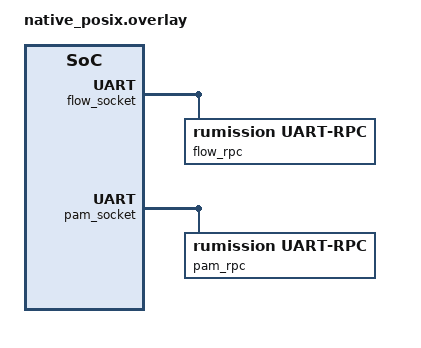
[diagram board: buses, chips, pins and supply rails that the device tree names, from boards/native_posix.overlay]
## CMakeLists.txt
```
cmake_minimum_required(VERSION 3.20.0)

# add_definitions(-DPOSIX_ARCH_DEBUG_PRINTS)

find_package(Zephyr REQUIRED HINTS $ENV{ZEPHYR_BASE})
project(nanopb_socket_tests)

target_include_directories(app PUBLIC ${CMAKE_CURRENT_BINARY_DIR}/modules/application)

target_sources(app PRIVATE src/main.c)

add_dependencies(app rumission_protos)
```

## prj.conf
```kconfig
# Support for printing floats
CONFIG_NEWLIB_LIBC=y
CONFIG_CBPRINTF_FP_SUPPORT=y

# Enable NanoPB and allow it to dynamically allocate memory
CONFIG_HEAP_MEM_POOL_SIZE=10240
CONFIG_NANOPB_ENABLE_MALLOC=y
CONFIG_NANOPB=y

# Enable the serial port
# Make the uart_socket driver interrupt driven
# But just use the polling method for the shell (ptty)
CONFIG_SERIAL=y
CONFIG_UART_INTERRUPT_DRIVEN=y
CONFIG_SHELL_BACKEND_SERIAL_INTERRUPT_DRIVEN=n

# More sim settings
# CONFIG_NATIVE_POSIX_SLOWDOWN_TO_REAL_TIME=y

CONFIG_SENSOR=y
CONFIG_SHELL=y
CONFIG_RING_BUFFER=y
CONFIG_EVENTS=y
CONFIG_DEBUG=y

# Custom libraries
CONFIG_RPC_LIB=y


CONFIG_LOG=y
CONFIG_THREAD_STACK_INFO=y
CONFIG_KERNEL_SHELL=y
CONFIG_THREAD_MONITOR=y
CONFIG_BOOT_BANNER=y
CONFIG_THREAD_NAME=y
CONFIG_DEVICE_SHELL=y
CONFIG_POSIX_CLOCK=y
CONFIG_DATE_SHELL=y
CONFIG_THREAD_RUNTIME_STATS=y
CONFIG_THREAD_RUNTIME_STATS_USE_TIMING_FUNCTIONS=y
CONFIG_STATS=y
CONFIG_STATS_SHELL=y
```

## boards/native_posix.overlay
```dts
/ {
	rpc: rpc {
		status = "okay";
		compatible = "rumission,rpc";
		
		bus_id = <0>;

		#address-cells = < 1 >;
		#size-cells = < 0 >;

		flow: rpc_target@3 {
			status = "okay";
			compatible = "rumission,flow-meter";
			reg = <3>;
			hw = <&flow_rpc>;
		};

		pam: rpc_target@2 {
			status = "okay";
			compatible = "twobtech,pam";
			reg = <2>;
			hw = <&pam_rpc>;
		};
	};

	parent {
		#address-cells = < 1 >;
		#size-cells = <0>;

		flow_socket: uart_socket@1e61  {
			compatible = "rumission,uart-socket";
			status = "okay";
			reg = <7777>;
			irqn = <3>;

			flow_rpc: flow_rpc {
				compatible = "rumission,uart-rpc";
				status = "okay";

				rpc = <&rpc>;
			};
		};

		pam_socket: uart_socket@1e62  {
			compatible = "rumission,uart-socket";
			status = "okay";
			reg = <7778>;
			irqn = <4>;

			pam_rpc: pam_rpc {
				compatible = "rumission,uart-rpc";
				status = "okay";

				rpc = <&rpc>;
			};
		};
	};
};
```

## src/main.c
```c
#include <zephyr/kernel.h>
#include <zephyr/device.h>

#include <lib/rpc/rpc.h>
#include <Protos/v1/rpc.h>
#include <drivers/sensor/flow.h>

#include <errno.h>
#include <stdio.h>

#include <zephyr/logging/log.h>
LOG_MODULE_REGISTER(logging_main);


const static struct device *flow = DEVICE_DT_GET(DT_NODELABEL(flow));
const static struct device *pam = DEVICE_DT_GET(DT_NODELABEL(pam));


int main(void)
{
    const struct device *devices[] = {
        // uart_socket,
        flow,
        pam,
    };

    for (uint8_t i = 0; i < ARRAY_SIZE(devices); i++)
    {
        if (!device_is_ready(devices[i]))
        {
            printk("Device %s is NOT ready\n", devices[i]->name);
            return -ENODEV;
        }
    }

    while (true)
    {
        k_sleep(K_MSEC(5000));

        printf("Pinging Flow Meter...\n");
        flow_meter_ping(flow, K_MSEC(100));
    }

    return 0;
}
```
